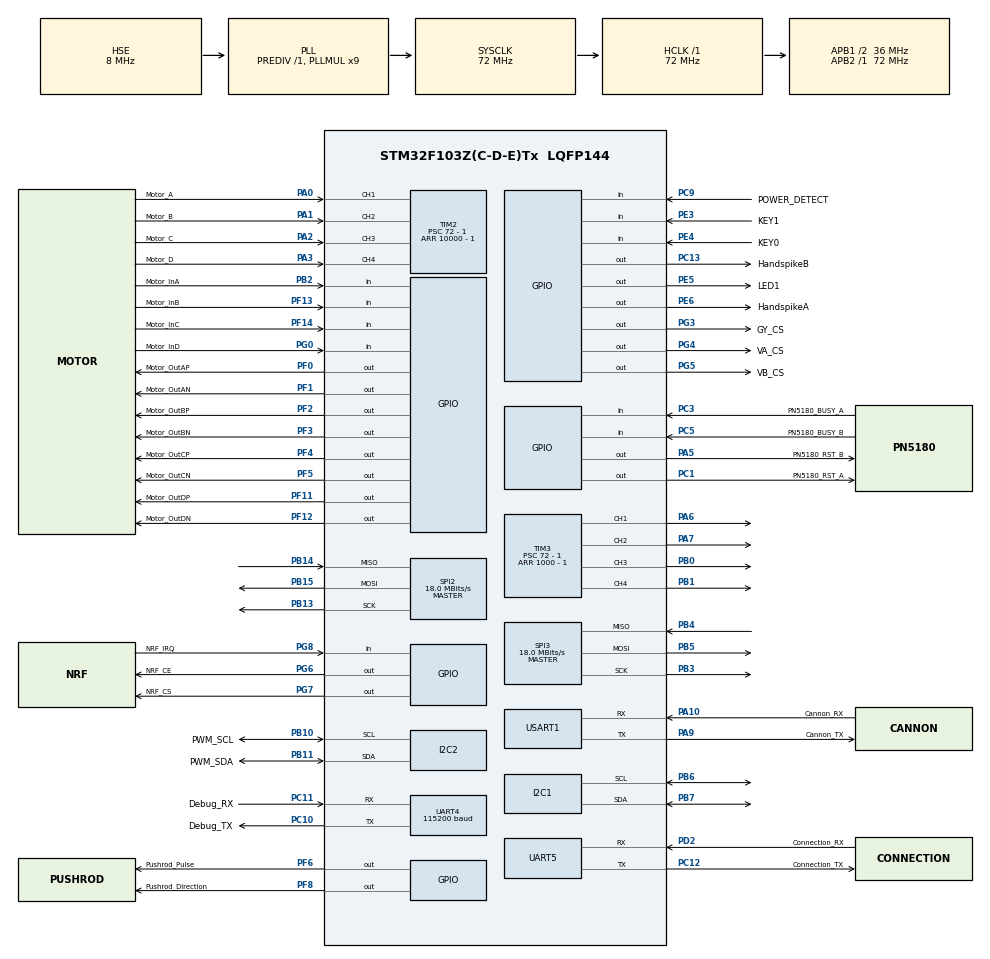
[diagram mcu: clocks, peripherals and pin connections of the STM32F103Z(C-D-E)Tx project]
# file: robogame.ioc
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Dma.Request0=UART4_RX
Dma.Request1=UART4_TX
Dma.UART4_RX.0.Direction=DMA_PERIPH_TO_MEMORY
Dma.UART4_RX.0.Instance=DMA2_Channel3
Dma.UART4_RX.0.MemDataAlignment=DMA_MDATAALIGN_BYTE
Dma.UART4_RX.0.MemInc=DMA_MINC_ENABLE
Dma.UART4_RX.0.Mode=DMA_NORMAL
Dma.UART4_RX.0.PeriphDataAlignment=DMA_PDATAALIGN_BYTE
Dma.UART4_RX.0.PeriphInc=DMA_PINC_DISABLE
Dma.UART4_RX.0.Priority=DMA_PRIORITY_LOW
Dma.UART4_TX.1.Direction=DMA_MEMORY_TO_PERIPH
Dma.UART4_TX.1.Instance=DMA2_Channel5
Dma.UART4_TX.1.MemDataAlignment=DMA_MDATAALIGN_BYTE
Dma.UART4_TX.1.MemInc=DMA_MINC_ENABLE
Dma.UART4_TX.1.Mode=DMA_NORMAL
Dma.UART4_TX.1.PeriphDataAlignment=DMA_PDATAALIGN_BYTE
Dma.UART4_TX.1.PeriphInc=DMA_PINC_DISABLE
Dma.UART4_TX.1.Priority=DMA_PRIORITY_LOW
I2C2.I2C_Mode=I2C_Standard
Mcu.Family=STM32F1
Mcu.Name=STM32F103Z(C-D-E)Tx
Mcu.Package=LQFP144
Mcu.UserConstants=pushrod_Update,htim5;PIDlocationUpdate,htim8;PID_Update,htim4
NVIC.DMA2_Channel3_IRQn=true\:0\:0\:false\:false\:true\:false\:true
NVIC.DMA2_Channel4_5_IRQn=true\:0\:0\:false\:false\:true\:false\:true
NVIC.PriorityGroup=NVIC_PRIORITYGROUP_4
NVIC.TIM2_IRQn=true\:0\:0\:false\:false\:true\:true\:true
NVIC.TIM4_IRQn=true\:0\:0\:false\:false\:true\:true\:true
NVIC.TIM5_IRQn=true\:0\:0\:false\:false\:true\:true\:true
NVIC.TIM7_IRQn=true\:0\:0\:true\:false\:true\:false\:true
NVIC.TIM8_UP_IRQn=true\:0\:0\:false\:false\:true\:true\:true
NVIC.TimeBase=TIM7_IRQn
NVIC.TimeBaseIP=TIM7
NVIC.UART4_IRQn=true\:1\:0\:true\:false\:true\:true\:true
NVIC.USART1_IRQn=true\:1\:0\:true\:false\:true\:true\:true
OSC_IN.Mode=HSE-External-Oscillator
OSC_IN.Signal=RCC_OSC_IN
OSC_OUT.Mode=HSE-External-Oscillator
OSC_OUT.Signal=RCC_OSC_OUT
PA0-WKUP.GPIO_Label=Motor_A
PA0-WKUP.GPIO_PuPd=GPIO_PULLDOWN
PA0-WKUP.Signal=S_TIM2_CH1_ETR
PA1.GPIO_Label=Motor_B
PA1.GPIO_PuPd=GPIO_PULLDOWN
PA1.Signal=S_TIM2_CH2
PA10.GPIO_Label=Cannon_RX
PA10.Mode=Asynchronous
PA10.Signal=USART1_RX
PA13.Mode=Serial_Wire
PA13.Signal=SYS_JTMS-SWDIO
PA14.Mode=Serial_Wire
PA14.Signal=SYS_JTCK-SWCLK
PA2.GPIO_Label=Motor_C
PA2.GPIO_PuPd=GPIO_PULLDOWN
PA2.Signal=S_TIM2_CH3
PA3.GPIO_Label=Motor_D
PA3.GPIO_PuPd=GPIO_PULLDOWN
PA3.Signal=S_TIM2_CH4
PA5.GPIO_Label=PN5180_RST_B
PA5.GPIO_PuPd=GPIO_PULLUP
PA5.Signal=GPIO_Output
PA6.Signal=S_TIM3_CH1
PA7.Signal=S_TIM3_CH2
PA9.GPIO_Label=Cannon_TX
PA9.Mode=Asynchronous
PA9.Signal=USART1_TX
PB0.Signal=S_TIM3_CH3
PB1.Signal=S_TIM3_CH4
PB10.GPIO_Label=PWM_SCL
PB10.GPIO_Pu=GPIO_PULLUP
PB10.Mode=I2C
PB10.Signal=I2C2_SCL
PB11.GPIO_Label=PWM_SDA
PB11.GPIO_Pu=GPIO_PULLUP
PB11.Mode=I2C
PB11.Signal=I2C2_SDA
PB13.Mode=Full_Duplex_Master
PB13.Signal=SPI2_SCK
PB14.Mode=Full_Duplex_Master
PB14.Signal=SPI2_MISO
PB15.Mode=Full_Duplex_Master
PB15.Signal=SPI2_MOSI
PB2.GPIO_Label=Motor_InA
PB2.Signal=GPIO_Input
PB3.Mode=Full_Duplex_Master
PB3.Signal=SPI3_SCK
PB4.Mode=Full_Duplex_Master
PB4.Signal=SPI3_MISO
PB5.Mode=Full_Duplex_Master
PB5.Signal=SPI3_MOSI
PB6.Mode=I2C
PB6.Signal=I2C1_SCL
PB7.Mode=I2C
PB7.Signal=I2C1_SDA
PC1.GPIO_Label=PN5180_RST_A
PC1.GPIO_PuPd=GPIO_PULLUP
PC1.Signal=GPIO_Output
PC10.GPIO_Label=Debug_TX
PC10.Mode=Asynchronous
PC10.Signal=UART4_TX
PC11.GPIO_Label=Debug_RX
PC11.Mode=Asynchronous
PC11.Signal=UART4_RX
PC12.GPIO_Label=Connection_TX
PC12.Mode=Asynchronous
PC12.Signal=UART5_TX
PC13-TAMPER-RTC.GPIO_Label=HandspikeB
PC13-TAMPER-RTC.Signal=GPIO_Output
PC3.GPIO_Label=PN5180_BUSY_A
PC3.GPIO_PuPd=GPIO_PULLUP
PC3.Signal=GPIO_Input
PC5.GPIO_Label=PN5180_BUSY_B
PC5.GPIO_PuPd=GPIO_PULLUP
PC5.Signal=GPIO_Input
PC9.GPIO_Label=POWER_DETECT
PC9.Signal=GPIO_Input
PD2.GPIO_Label=Connection_RX
PD2.Mode=Asynchronous
PD2.Signal=UART5_RX
PE3.GPIO_Label=KEY1
PE3.GPIO_PuPd=GPIO_PULLUP
PE3.Signal=GPIO_Input
PE4.GPIO_Label=KEY0
PE4.GPIO_PuPd=GPIO_PULLUP
PE4.Signal=GPIO_Input
PE5.GPIO_Label=LED1
PE5.Signal=GPIO_Output
PE6.GPIO_Label=HandspikeA
PE6.Signal=GPIO_Output
PF0.GPIO_Label=Motor_OutAP
PF0.Signal=GPIO_Output
PF1.GPIO_Label=Motor_OutAN
PF1.GPIO_Speed=GPIO_SPEED_FREQ_LOW
PF1.Signal=GPIO_Output
PF11.GPIO_Label=Motor_OutDP
PF11.Signal=GPIO_Output
PF12.GPIO_Label=Motor_OutDN
PF12.Signal=GPIO_Output
PF13.GPIO_Label=Motor_InB
PF13.Signal=GPIO_Input
PF14.GPIO_Label=Motor_InC
PF14.Signal=GPIO_Input
PF2.GPIO_Label=Motor_OutBP
PF2.GPIO_Speed=GPIO_SPEED_FREQ_LOW
PF2.Signal=GPIO_Output
PF3.GPIO_Label=Motor_OutBN
PF3.GPIO_Speed=GPIO_SPEED_FREQ_LOW
PF3.Signal=GPIO_Output
PF4.GPIO_Label=Motor_OutCP
PF4.Signal=GPIO_Output
PF5.GPIO_Label=Motor_OutCN
PF5.Signal=GPIO_Output
PF6.GPIO_Label=Pushrod_Pulse
PF6.GPIO_ModeDefaultOutputPP=GPIO_MODE_OUTPUT_OD
PF6.Signal=GPIO_Output
PF8.GPIO_Label=Pushrod_Direction
PF8.GPIO_ModeDefaultOutputPP=GPIO_MODE_OUTPUT_OD
PF8.Signal=GPIO_Output
PG0.GPIO_Label=Motor_InD
PG0.Signal=GPIO_Input
PG3.GPIO_Label=GY_CS
PG3.Signal=GPIO_Output
PG4.GPIO_Label=VA_CS
PG4.Signal=GPIO_Output
PG5.GPIO_Label=VB_CS
PG5.Signal=GPIO_Output
PG6.GPIO_Label=NRF_CE
PG6.Signal=GPIO_Output
PG7.GPIO_Label=NRF_CS
PG7.Signal=GPIO_Output
PG8.GPIO_Label=NRF_IRQ
PG8.Signal=GPIO_Input
ProjectManager.HeapSize=0x200
ProjectManager.StackSize=0x400
ProjectManager.TargetToolchain=MDK-ARM V5
RCC.AHBFreq_Value=72000000
RCC.APB1CLKDivider=RCC_HCLK_DIV2
RCC.APB1Freq_Value=36000000
RCC.APB1TimFreq_Value=72000000
RCC.APB2Freq_Value=72000000
RCC.APB2TimFreq_Value=72000000
RCC.EnbaleCSS=true
RCC.HCLKFreq_Value=72000000
RCC.PLLMUL=RCC_PLL_MUL9
RCC.PLLSourceVirtual=RCC_PLLSOURCE_HSE
RCC.SYSCLKFreq_VALUE=72000000
RCC.SYSCLKSource=RCC_SYSCLKSOURCE_PLLCLK
RCC.USBFreq_Value=72000000
SH.S_TIM2_CH1_ETR.0=TIM2_CH1,Input_Capture1_from_TI1
SH.S_TIM2_CH2.0=TIM2_CH2,Input_Capture2_from_TI2
SH.S_TIM2_CH3.0=TIM2_CH3,Input_Capture3_from_TI3
SH.S_TIM2_CH4.0=TIM2_CH4,Input_Capture4_from_TI4
SH.S_TIM3_CH1.0=TIM3_CH1,PWM Generation1 CH1
SH.S_TIM3_CH2.0=TIM3_CH2,PWM Generation2 CH2
SH.S_TIM3_CH3.0=TIM3_CH3,PWM Generation3 CH3
SH.S_TIM3_CH4.0=TIM3_CH4,PWM Generation4 CH4
SPI2.CalculateBaudRate=18.0 MBits/s
SPI2.Direction=SPI_DIRECTION_2LINES
SPI2.Mode=SPI_MODE_MASTER
SPI2.VirtualType=VM_MASTER
SPI3.CalculateBaudRate=18.0 MBits/s
SPI3.Direction=SPI_DIRECTION_2LINES
SPI3.Mode=SPI_MODE_MASTER
SPI3.VirtualType=VM_MASTER
TIM2.Channel-Input_Capture1_from_TI1=TIM_CHANNEL_1
TIM2.Channel-Input_Capture2_from_TI2=TIM_CHANNEL_2
TIM2.Channel-Input_Capture3_from_TI3=TIM_CHANNEL_3
TIM2.Channel-Input_Capture4_from_TI4=TIM_CHANNEL_4
TIM2.Period=10000 - 1
TIM2.Prescaler=72 - 1
TIM3.Channel-PWM\ Generation1\ CH1=TIM_CHANNEL_1
TIM3.Channel-PWM\ Generation2\ CH2=TIM_CHANNEL_2
TIM3.Channel-PWM\ Generation3\ CH3=TIM_CHANNEL_3
TIM3.Channel-PWM\ Generation4\ CH4=TIM_CHANNEL_4
TIM3.OCPolarity_1=TIM_OCPOLARITY_HIGH
TIM3.OCPolarity_2=TIM_OCPOLARITY_HIGH
TIM3.OCPolarity_3=TIM_OCPOLARITY_HIGH
TIM3.OCPolarity_4=TIM_OCPOLARITY_HIGH
TIM3.Period=1000 - 1
TIM3.Prescaler=72 - 1
TIM3.Pulse-PWM\ Generation1\ CH1=0
TIM3.Pulse-PWM\ Generation2\ CH2=0
TIM3.Pulse-PWM\ Generation3\ CH3=0
TIM3.Pulse-PWM\ Generation4\ CH4=0
TIM4.Period=10000 - 1
TIM4.Prescaler=72 - 1
TIM5.Period=8 - 1
TIM5.Prescaler=72 - 1
TIM6.Period=20000 - 1
TIM6.Prescaler=72 - 1
TIM8.Period=5000 - 1
TIM8.Prescaler=72 - 1
UART4.BaudRate=115200
UART4.VirtualMode=Asynchronous
UART5.VirtualMode=Asynchronous
USART1.VirtualMode=VM_ASYNC
VP_SYS_VS_tim7.Mode=TIM7
VP_TIM2_VS_ClockSourceINT.Mode=Internal
VP_TIM3_VS_ClockSourceINT.Mode=Internal
VP_TIM4_VS_ClockSourceINT.Mode=Internal
VP_TIM5_VS_ClockSourceINT.Mode=Internal
VP_TIM6_VS_ClockSourceINT.Mode=Enable_Timer
VP_TIM8_VS_ClockSourceINT.Mode=Internal
board=custom

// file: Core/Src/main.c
/* USER CODE BEGIN Header */
/**
  ******************************************************************************
  * @file           : main.c
  * @brief          : Main program body
  ******************************************************************************
  * @attention
  *
  * <h2><center>&copy; Copyright (c) 2021 STMicroelectronics.
  * All rights reserved.</center></h2>
  *
  * This software component is licensed by ST under BSD 3-Clause license,
  * the "License"; You may not use this file except in compliance with the
  * License. You may obtain a copy of the License at:
  *                        opensource.org/licenses/BSD-3-Clause
  *
  ******************************************************************************
  */
/* USER CODE END Header */
#include "main.h"
#include "dma.h"
#include "i2c.h"
#include "spi.h"
#include "tim.h"
#include "usart.h"
#include "gpio.h"

/* USER CODE BEGIN Includes */
#include "delay.h"
#include "iso15693.h"
#include "main_.h"
#include "motor_ctrl.h"
#include "motor_feedback.h"
#include "pn5180.h"
#include "pushrod.h"
#include "stdio.h"

/* USER CODE END Includes */

void SystemClock_Config(void);

int main(void)
{

  /* MCU Configuration--------------------------------------------------------*/

  /* Reset of all peripherals, Initializes the Flash interface and the Systick. */
  HAL_Init();

  /* Configure the system clock */
  SystemClock_Config();

  /* Initialize all configured peripherals */
  MX_GPIO_Init();
  MX_DMA_Init();
  MX_TIM3_Init();
  MX_UART4_Init();
  MX_UART5_Init();
  MX_I2C2_Init();
  MX_SPI2_Init();
  MX_TIM2_Init();
  MX_SPI3_Init();
  MX_TIM6_Init();
  MX_TIM5_Init();
  MX_TIM8_Init();
  MX_TIM4_Init();
  MX_USART1_UART_Init();
  MX_I2C1_Init();
  /* USER CODE BEGIN 2 */
  HAL_GPIO_WritePin(LED1_GPIO_Port, LED1_Pin, GPIO_PIN_RESET);

  Delay_Init();
  // 先delay init，再motorctrl init
  MotorCtrl_Init();
  MotorFeedback_Init();

  // while (PN5180_Init(RFID_A) != 0)
  //   ;
  // while (PN5180_Init(RFID_B) != 0)
  //   ;

  /* USER CODE END 2 */

  /* Infinite loop */
  /* USER CODE BEGIN WHILE */

  Main_();

  while (1)
  {
    /* USER CODE END WHILE */

  }
}

void SystemClock_Config(void)
{
  RCC_OscInitTypeDef RCC_OscInitStruct = {0};
  RCC_ClkInitTypeDef RCC_ClkInitStruct = {0};

  /** Initializes the RCC Oscillators according to the specified parameters
  * in the RCC_OscInitTypeDef structure.
  */
  RCC_OscInitStruct.OscillatorType = RCC_OSCILLATORTYPE_HSE;
  RCC_OscInitStruct.HSEState = RCC_HSE_ON;
  RCC_OscInitStruct.HSEPredivValue = RCC_HSE_PREDIV_DIV1;
  RCC_OscInitStruct.HSIState = RCC_HSI_ON;
  RCC_OscInitStruct.PLL.PLLState = RCC_PLL_ON;
  RCC_OscInitStruct.PLL.PLLSource = RCC_PLLSOURCE_HSE;
  RCC_OscInitStruct.PLL.PLLMUL = RCC_PLL_MUL9;
  if (HAL_RCC_OscConfig(&RCC_OscInitStruct) != HAL_OK)
  {
    Error_Handler();
  }
  /** Initializes the CPU, AHB and APB buses clocks
  */
  RCC_ClkInitStruct.ClockType = RCC_CLOCKTYPE_HCLK|RCC_CLOCKTYPE_SYSCLK
                              |RCC_CLOCKTYPE_PCLK1|RCC_CLOCKTYPE_PCLK2;
  RCC_ClkInitStruct.SYSCLKSource = RCC_SYSCLKSOURCE_PLLCLK;
  RCC_ClkInitStruct.AHBCLKDivider = RCC_SYSCLK_DIV1;
  RCC_ClkInitStruct.APB1CLKDivider = RCC_HCLK_DIV2;
  RCC_ClkInitStruct.APB2CLKDivider = RCC_HCLK_DIV1;

  if (HAL_RCC_ClockConfig(&RCC_ClkInitStruct, FLASH_LATENCY_2) != HAL_OK)
  {
    Error_Handler();
  }
  /** Enables the Clock Security System
  */
  HAL_RCC_EnableCSS();
}

void HAL_TIM_PeriodElapsedCallback(TIM_HandleTypeDef *htim)
{
  if (htim->Instance == TIM7) {
    HAL_IncTick();
  }
  /* USER CODE BEGIN Callback 1 */
  if (htim->Instance == TIM2) {
    // printf("A\r\n");
    MotorFeedback_TIM_PeriodElapsedCallback();
  }

  if (htim->Instance == TIM4) {
    FrequentlyCalledUpdate();
    // MotorFeedback_TIM_PeriodElapsedCallback();
  }
  if (htim->Instance == TIM5) {
    Pushrod_TIM_UpdateHandler();
  }

  /* USER CODE END Callback 1 */
}

void Error_Handler(void)
{
  __disable_irq();
  while (1)
  {
  }
}

/************************ (C) COPYRIGHT STMicroelectronics *****END OF FILE****/
